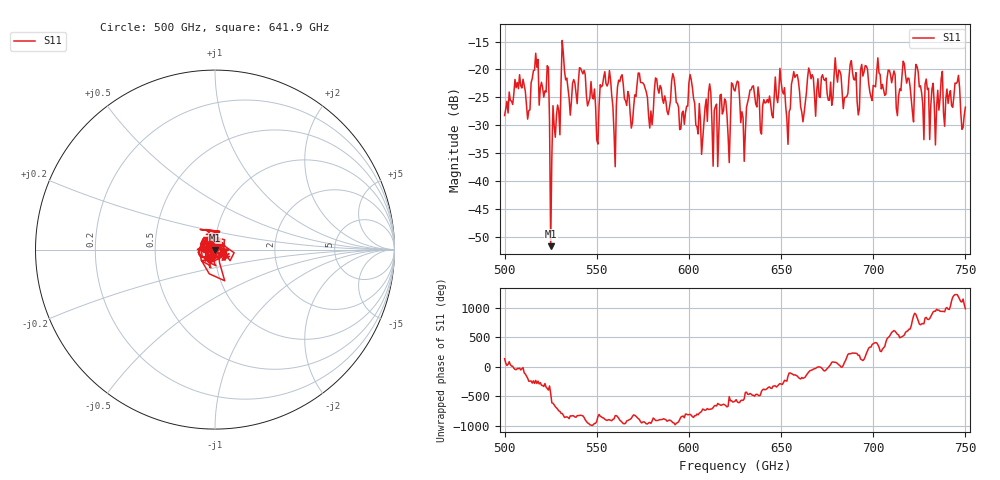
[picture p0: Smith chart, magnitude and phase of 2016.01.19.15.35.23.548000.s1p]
!Created with skrf (http://scikit-rf.org).
# GHz S RI R 50.0
!freq ReS11 ImS11
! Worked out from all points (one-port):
!   401 points, 500 GHz to 750 GHz, reference 50 ohm
!   lowest |S11| = -51.7 dB at 525 GHz (marker M1), VSWR 1.01, Z = 50 - j0.259 ohm
!   |S11| at or under -10 dB: start of sweep to end of sweep
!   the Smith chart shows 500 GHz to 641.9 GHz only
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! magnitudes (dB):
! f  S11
! 500 GHz  -28.3
! 513.1 GHz  -27.4
! 516.9 GHz  -17.1
! 523.1 GHz  -19.3
! 525 GHz  -51.7
! 531.2 GHz  -14.8
! 541.9 GHz  -20.3
! 550 GHz  -32.6
! 555.6 GHz  -23.0
! 559.4 GHz  -31.4
! 562.5 GHz  -22.2
! 568.8 GHz  -30.5
! 573.8 GHz  -22.3
! 579.4 GHz  -27.5
! 583.1 GHz  -23.5
! 593.8 GHz  -26.1
! 621.2 GHz  -31.9
! 625 GHz  -23.9
! 629.4 GHz  -28.6
! 633.8 GHz  -23.7
! 650.6 GHz  -23.8
! 653.8 GHz  -33.4
! 656.2 GHz  -21.7
! 661.9 GHz  -29.4
! 665.6 GHz  -20.5
! 687.5 GHz  -19.0
! 718.8 GHz  -21.6
! 750 GHz  -26.8
